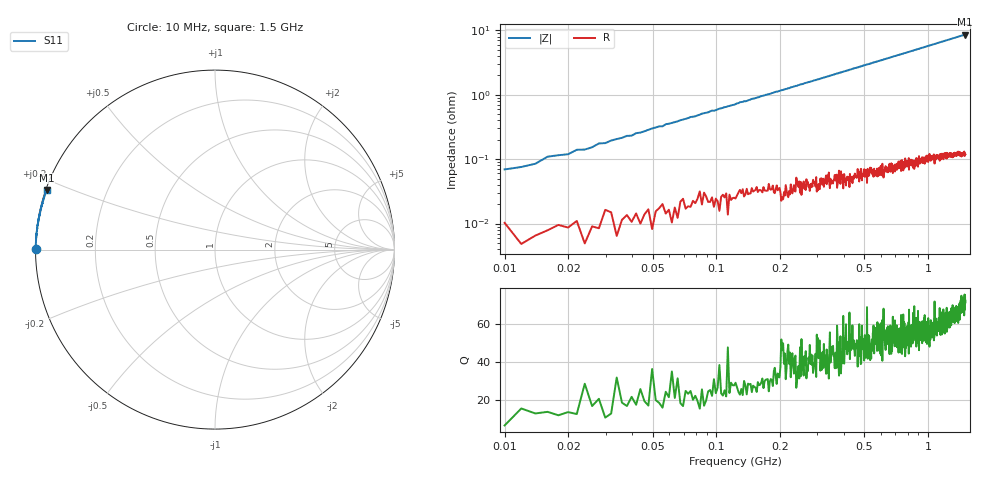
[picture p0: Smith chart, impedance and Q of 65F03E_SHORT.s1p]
# Hz S RI R 50.000000
! FREQ  re:S1  1  im:S1  1
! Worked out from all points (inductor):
!   751 points, 10 MHz to 1.5 GHz, reference 50 ohm
!   read as one part to ground: L = 975 pH near 15.96 MHz
!   highest Q = 72.4 at 1.496 GHz (marker M1), where L = 915 pH
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1e7  -0.9996 0.00274
1.993333e7  -0.9996 0.00476
1.967467e8  -0.9976 0.0454
3.040267e8  -0.9959 0.0693
3.834933e8  -0.9941 0.0878
4.192533e8  -0.9933 0.0957
4.709067e8  -0.9918 0.1073
4.967333e8  -0.9914 0.1131
5.364667e8  -0.99 0.1212
5.483867e8  -0.99 0.1245
5.7024e8  -0.9894 0.1293
6.874533e8  -0.9851 0.1557
7.55e8  -0.9821 0.1708
7.689067e8  -0.9818 0.1742
7.808267e8  -0.9804 0.1761
7.927467e8  -0.9807 0.179
8.0864e8  -0.9801 0.1829
8.543333e8  -0.9777 0.1922
8.781733e8  -0.9763 0.1983
9.417467e8  -0.9737 0.2118
9.616133e8  -0.9722 0.2169
1.009293e9  -0.9694 0.2275
1.078827e9  -0.9657 0.2428
1.128493e9  -0.9628 0.2536
1.31524e9  -0.9513 0.2937
1.44636e9  -0.9418 0.3222
1.496027e9  -0.9381 0.3327
1.5e9  -0.9378 0.3335
